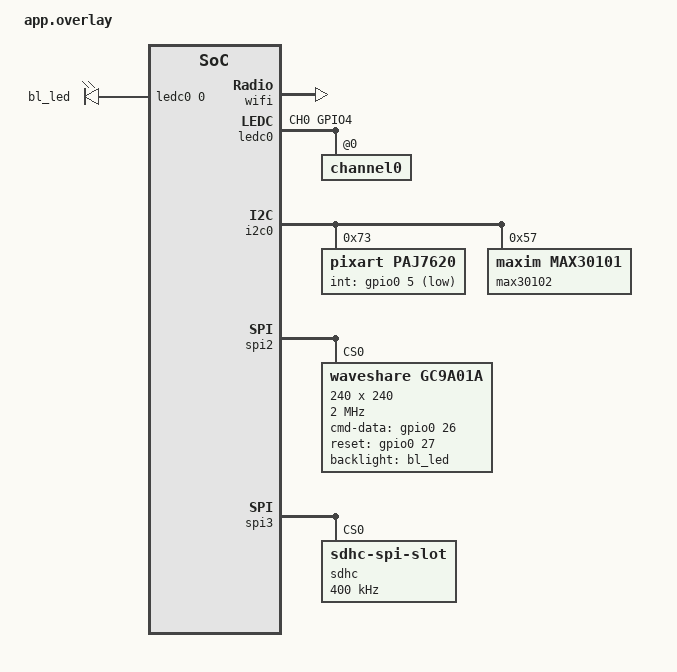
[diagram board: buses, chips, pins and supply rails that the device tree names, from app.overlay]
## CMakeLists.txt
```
# Copyright (c) 2021 Nordic Semiconductor ASA
# SPDX-License-Identifier: Apache-2.0

cmake_minimum_required(VERSION 3.20)

find_package(Zephyr REQUIRED HINTS $ENV{ZEPHYR_BASE})
project(app LANGUAGES C)

set(CMAKE_EXPORT_COMPILE_COMMANDS on)

target_include_directories(app PRIVATE inc)
target_sources(app PRIVATE src/main.c)
add_subdirectory(apps)
add_subdirectory(subsys)
```

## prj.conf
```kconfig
CONFIG_LV_Z_MEM_POOL_NUMBER_BLOCKS=16
CONFIG_LV_Z_BITS_PER_PIXEL=16
CONFIG_MAIN_STACK_SIZE=7500
CONFIG_COMMON_LIBC_MALLOC_ARENA_SIZE=5120

CONFIG_BOOTLOADER_MCUBOOT=y

# CONFIG_POSIX_API=y
# CONFIG_POSIX_CLOCK=y

CONFIG_LOG=y
CONFIG_PRINTK=y
CONFIG_EVENTS=y
CONFIG_SMF=y
CONFIG_SMF_ANCESTOR_SUPPORT=y

CONFIG_WIFI=y
CONFIG_NETWORKING=y
CONFIG_NET_L2_ETHERNET=y

CONFIG_NET_TX_STACK_SIZE=2048
CONFIG_NET_RX_STACK_SIZE=2048
CONFIG_NET_PKT_RX_COUNT=10
CONFIG_NET_PKT_TX_COUNT=10
CONFIG_NET_BUF_RX_COUNT=10
CONFIG_NET_BUF_TX_COUNT=10
CONFIG_NET_MAX_CONTEXTS=10

CONFIG_NET_SOCKETS=y
CONFIG_NET_IPV6=n
CONFIG_NET_IPV4=y
CONFIG_NET_DHCPV4=y

CONFIG_DNS_RESOLVER=y
CONFIG_NET_TCP=y

CONFIG_HTTP_CLIENT=y

CONFIG_SNTP=y

CONFIG_I2C=y
CONFIG_SPI=y
CONFIG_GPIO=y
CONFIG_PWM=y

CONFIG_DISK_ACCESS=y
CONFIG_DISK_DRIVER_SDMMC=y

CONFIG_FILE_SYSTEM=y
CONFIG_FAT_FILESYSTEM_ELM=y

CONFIG_RTC=y
CONFIG_RTC_UPDATE=y

CONFIG_GESTURE=y
CONFIG_PAJ7620=y
# CONFIG_PAJ7620_TRIGGER_GLOBAL_THREAD=y

CONFIG_SENSOR=y
CONFIG_MAX30101_SMP_AVE=3
CONFIG_MAX30101_SR=5
CONFIG_MAX30101_SPO2_MODE=y
CONFIG_MAX30101_LED1_PA=0x0a
CONFIG_MAX30101_LED2_PA=0x0d
CONFIG_MAX30101_LED3_PA=0

CONFIG_DISPLAY=y

CONFIG_LVGL=y
CONFIG_LV_COLOR_16_SWAP=y
CONFIG_LV_MEM_CUSTOM=y
CONFIG_LV_USE_LOG=y
CONFIG_LV_THEME_DEFAULT_DARK=y
CONFIG_LV_USE_LABEL=y
CONFIG_LV_USE_METER=y
CONFIG_LV_FONT_MONTSERRAT_32=y
CONFIG_LV_FONT_DEFAULT_MONTSERRAT_32=y
```

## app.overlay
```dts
/ {

    chosen {
        nerw,gesture = &paj7620;
        nerw,heart = &max30102;
        zephyr,display = &gc9a01a;
    };

    pwmleds {
        compatible = "pwm-leds";
        bl_led: bl_led {
            status = "okay";
            pwms = <&ledc0 0 PWM_MSEC(4) PWM_POLARITY_NORMAL>;
        };
    };
};

&wifi {
    status = "okay";
};

&ledc0 {
    pinctrl-0 = <&ledc0_default>;
    pinctrl-names = "default";
    #address-cells = <1>;
    #size-cells = <0>;
    channel0@0 {
        reg = <0x00>;
        timer = <0>;
    };
    status = "okay";
};

&i2c0 {
    paj7620: paj7620@73 {
        status = "okay";
        compatible = "pixart,paj7620";
        reg = <0x73>;
        int-gpios = <&gpio0 5 (GPIO_ACTIVE_LOW | GPIO_PULL_UP)>;
    };

    max30102: max30102@57 {
        status = "okay";
        compatible = "maxim,max30101";
        reg = <0x57>;
    };

    /* apds9960: apds9960@56 { */
    /*     compatible = "avago,apds9960g"; */
    /*     reg = <0x56>; */
    /*     int-gpios = <&gpio0 33 (GPIO_ACTIVE_HIGH | GPIO_PULL_UP)>; */
    /* }; */
};

&spi2 {
    gc9a01a: gc9a01a@0 {
        status = "okay";
        compatible = "waveshare,gc9a01a";
        spi-max-frequency = <2000000>;
        reg = <0>;

        cmd-data-gpios = <&gpio0 26 GPIO_ACTIVE_HIGH>;
        reset-gpios = <&gpio0 27 GPIO_ACTIVE_HIGH>;
        backlight-gpios = <&bl_led>;

        width = <240>;
        height = <240>;

        pixel-format = <0U>;
        display-inversion;
    };
};

&spi3 {
    sdhc: sdhc@0 {
        status = "okay";
        compatible = "zephyr,sdhc-spi-slot";
        spi-max-frequency = <400000>;
        reg = <0x00>;

        mmc {
            compatible = "zephyr,sdmmc-disk";
            
        };
    };
};

&pinctrl {

    ledc0_default: ledc0_default {
        group1 {
            pinmux = <LEDC_CH0_GPIO4>;
            output-enable;
        };
    };
};
```

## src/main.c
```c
/*
 * Copyright (c) 2022 Nordic Semiconductor ASA
 * SPDX-License-Identifier: Apache-2.0
 */

#include <stdio.h>
#include <string.h>

#include <zephyr/kernel.h>
#include <zephyr/device.h>
#include <zephyr/devicetree.h>
#include <zephyr/smf.h>
#include <zephyr/drivers/display.h>

#include <zephyr/logging/log.h>
LOG_MODULE_REGISTER(app, CONFIG_LOG_DEFAULT_LEVEL);

#include <app/drivers/gesture.h>
#include <lvgl.h>

#include <subsys/list.h>
#include <app/list.h>

#define EVENT_GESTURE_UP    BIT(0)
#define EVENT_GESTURE_DOWN  BIT(1)
#define EVENT_GESTURE_LEFT  BIT(2)
#define EVENT_GESTURE_RIGHT BIT(3)
#define EVENT_GESTURE_TO    BIT(4)
#define EVENT_GESTURE_FROM  BIT(5)

#define EVENT_GESTURES      EVENT_GESTURE_UP    | EVENT_GESTURE_DOWN | \
                            EVENT_GESTURE_RIGHT | EVENT_GESTURE_LEFT |  \
                            EVENT_GESTURE_TO    | EVENT_GESTURE_FROM

#define EVENT_BUTTON_PRESS BIT(6)

#define EVENT_ALL EVENT_GESTURES | EVENT_BUTTON_PRESS

static const struct smf_state app_states[];
enum watch_state { SLEEP, APP, SELECT };

struct s_object {
    struct smf_ctx ctx;

    struct k_event smf_event;
    int32_t events;

    size_t app_index;
    struct app * app;
} s_obj;

static void sleep_entry(void *o) {
    /* display_ */
}

static void sleep_exit(void *o) {
}

static void app_entry(void *o) {
    struct s_object *obj = (struct s_object *) o;
    
    obj->app = &app_list[obj->app_index];
    
    printk("App entry %d\n", obj->app_index);
    printk("%s\n", obj->app->name);

    k_thread_resume(obj->app->thread);
    /* lv_scr_load(obj->app->screen); */
}

static void app_run(void *o) {
    int32_t events = ((struct s_object *) o)->events;

    if (events & EVENT_BUTTON_PRESS) {
        smf_set_state(SMF_CTX(&s_obj), &app_states[SLEEP]);
    } else if (events & EVENT_GESTURE_TO) {
        smf_set_state(SMF_CTX(&s_obj), &app_states[SELECT]);
    } else if (events & EVENT_GESTURE_DOWN) {
        printk("App scroll down\n");
    } else {
    }
}

static void app_exit(void *o) {
    struct s_object *obj = (struct s_object *) o;

    k_thread_suspend(obj->app->thread);
}

static void select_update(size_t app_index) {
    for (size_t i = 0; i < app_count; i++) {
        lv_obj_align(app_list[i].icon, LV_ALIGN_CENTER, (i - app_index) * 180, 0);
    }    
}

static void select_entry(void *o) {
    struct s_object *obj = (struct s_object *) o;

    lv_scr_load(app_select_screen);
    select_update(obj->app_index);

    lv_task_handler();
}

static void select_run(void *o) {
    struct s_object *obj = (struct s_object *) o;
    int32_t events = obj->events;

    if (events & EVENT_BUTTON_PRESS) {
        smf_set_state(SMF_CTX(&s_obj), &app_states[SLEEP]);
    } else if (events & EVENT_GESTURE_FROM) {
        smf_set_state(SMF_CTX(&s_obj), &app_states[APP]);
    } else if (events & EVENT_GESTURE_LEFT) {
        if (obj->app_index == app_count - 1)
            obj->app_index = 0;
        else
            obj->app_index++;
    }
    else if (events & EVENT_GESTURE_RIGHT) {
        if (obj->app_index == 0)
            obj->app_index = app_count - 1;
        else
            obj->app_index--;
    }
    select_update(obj->app_index);

    lv_task_handler();
}

static const struct smf_state app_states[] = {
    [SLEEP]  = SMF_CREATE_STATE(sleep_entry, NULL, sleep_exit, NULL),
    [APP]    = SMF_CREATE_STATE(app_entry, app_run, app_exit, NULL),
    [SELECT] = SMF_CREATE_STATE(select_entry, select_run, NULL, NULL),
};

int main(void) {
	const struct device *display_dev;
    
	display_dev = DEVICE_DT_GET(DT_CHOSEN(zephyr_display));
	if (!device_is_ready(display_dev)) {
		LOG_ERR("Display is not ready");
		return 0;
	}

    LOG_INF("subsys list allocated: %s", subsys_list == NULL ? "false" : "true");
    LOG_INF("subsys list size: %zu", subsys_count);

    for (size_t i = 0; i < subsys_count; i++)
        k_thread_start(subsys_list[i].thread);
    for (size_t i = 0; i < subsys_count; i++)
        k_thread_join(subsys_list[i].thread, K_FOREVER);

    LOG_INF("app list allocated: %s", app_list == NULL ? "false" : "true");
    LOG_INF("app list size: %zu", app_count);

    app_select_screen = lv_obj_create(NULL);

    size_t clock_app_index = 0;

    for (size_t i = 0; i < app_count; i++) {
        if (strncmp(app_list[i].name, "clock", 5) == 0) {
            printk("Clock app at index %zu\n", i);
            clock_app_index = i;
        }

        app_list[i].icon_create(&app_list[i]);
        k_thread_start(app_list[i].thread);
        k_thread_suspend(app_list[i].thread);
    }
    
    s_obj.app_index = clock_app_index;

    int32_t ret;
    k_event_init(&s_obj.smf_event);

    smf_set_initial(SMF_CTX(&s_obj), &app_states[APP]);

	display_blanking_off(display_dev);
    
    while (1) {
        s_obj.events = k_event_wait(&s_obj.smf_event, EVENT_GESTURES, true, K_FOREVER);
        if (s_obj.events)
            printk("Events: 0x%x\n", s_obj.events);

        ret = smf_run_state(SMF_CTX(&s_obj));
        if (ret) {
            LOG_ERR("state machine results in error: %d", ret);
            break;
        }

        /* k_sleep(K_MSEC(100)); */
    }

    return 0;
}

K_THREAD_STACK_DEFINE(gesture_stack_area, 1024);
static struct k_thread gesture_data;

/* threadA is a static thread that is spawned automatically */

int gesture_reader(void *dummy1, void *dummy2, void *dummy3)
{
	ARG_UNUSED(dummy1);
	ARG_UNUSED(dummy2);
	ARG_UNUSED(dummy3);

    const struct device *gesture_dev;

	gesture_dev = DEVICE_DT_GET(DT_CHOSEN(nerw_gesture));
	if (!device_is_ready(gesture_dev)) {
		LOG_ERR("Gesture sensor is not ready");
		return 0;
	}

	while (1) {
        enum gesture_type gesture = 0;
    
        gesture_get(gesture_dev, &gesture);
        switch (gesture) {
        case GESTURE_UP:
            printk("Up\n");
            k_event_post(&s_obj.smf_event, EVENT_GESTURE_UP);
            break;
        case GESTURE_DOWN:
            printk("Down\n");        
            k_event_post(&s_obj.smf_event, EVENT_GESTURE_DOWN);
            break;
        case GESTURE_LEFT:
            printk("Left\n");
            k_event_post(&s_obj.smf_event, EVENT_GESTURE_LEFT);
            break;
        case GESTURE_RIGHT:
            printk("Right\n");
            k_event_post(&s_obj.smf_event, EVENT_GESTURE_RIGHT);
            break;
        case GESTURE_FORWARD:
            printk("To\n");
            k_event_post(&s_obj.smf_event, EVENT_GESTURE_TO);
            break;
        case GESTURE_BACKWARD:
            printk("From\n");
            k_event_post(&s_obj.smf_event, EVENT_GESTURE_FROM);
            break;
        case GESTURE_NONE:
            break;
        }
		k_msleep(100);
	}

}

K_THREAD_DEFINE(gesture_tid, 1024,
                gesture_reader, NULL, NULL, NULL,
                7, 0, 0);
```

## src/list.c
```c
#include "app/list.h"

#include <zephyr/kernel.h>
#include <zephyr/init.h>

struct app *app_list = NULL;
size_t app_count = 0;
size_t app_index = 0;

int app_list_init(void) {
    app_list = k_malloc(app_count * sizeof(struct app));
    return app_list == NULL;
}

SYS_INIT(app_list_init, APPLICATION, 2);
```
